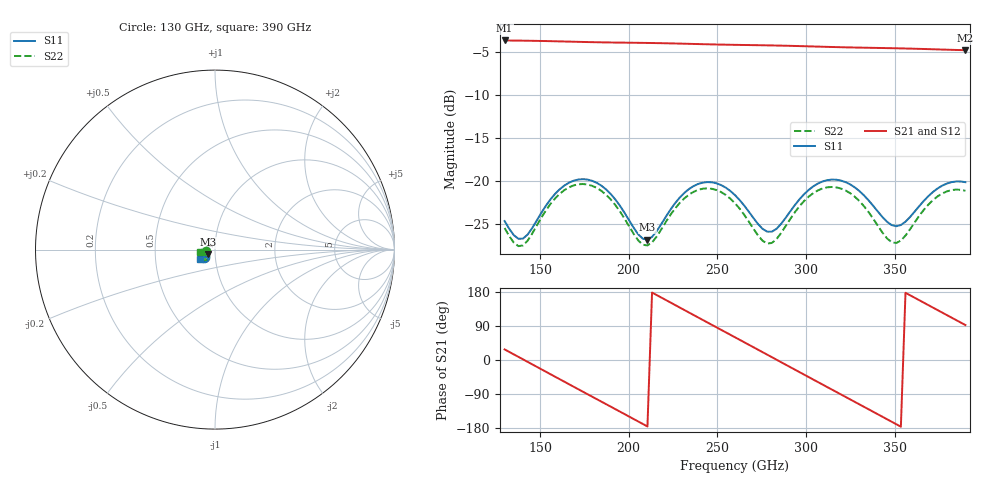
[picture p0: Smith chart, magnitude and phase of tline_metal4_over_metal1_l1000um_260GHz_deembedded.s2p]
! Created with skrf 2.0.1 (http://scikit-rf.org).
# GHz S DB R 50.0
!freq dBS11 angS11 dBS21 angS21 dBS12 angS12 dBS22 angS22
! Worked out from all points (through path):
!   101 points, 130 GHz to 390 GHz, reference 50 ohm
!   highest |S21| = -3.63 dB at 130 GHz (marker M1); lowest = -4.8 dB at 390 GHz (marker M2)
!   group delay of S21, straight-line fit = 7.01 ps
!   lowest |S11| = -26.9 dB at 210.6 GHz (marker M3), VSWR 1.10, Z = 46.3 - j2.41 ohm
!   |S11| at or under -10 dB: start of sweep to end of sweep
!   |S22| runs from -27.6 to -20.4 dB; largest |S21 - S12| = 1.1e-13
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130  -24.69 -161.9  -3.63 27.9  -3.63 27.9  -25.50 -168.5
140.4  -26.73 -137.7  -3.65 1.7  -3.65 1.7  -27.52 -143.1
150.8  -23.70 -121.1  -3.68 -24.6  -3.68 -24.6  -24.26 -127.3
163.8  -20.53 -130.8  -3.75 -57.5  -3.75 -57.5  -21.07 -138.7
174.2  -19.80 -145.6  -3.80 -83.7  -3.80 -83.7  -20.37 -154.5
189.8  -21.52 -165.8  -3.86 -122.9  -3.86 -122.9  -22.15 -175.9
200.2  -24.58 -168.1  -3.89 -149.1  -3.89 -149.1  -25.28 -178.7
210.6  -26.85 -145.2  -3.92 -175.4  -3.92 -175.4  -27.53 -156.0
218.4  -25.05 -127.8  -3.94 164.8  -3.94 164.8  -25.66 -139.4
239.2  -20.36 -138.7  -4.05 112.3  -4.05 112.3  -21.05 -152.7
249.6  -20.29 -152.2  -4.10 86.1  -4.10 86.1  -21.07 -167.2
260  -21.66 -162.9  -4.14 59.9  -4.14 59.9  -22.61 -179.0
275.6  -25.60 -155.3  -4.19 20.6  -4.19 20.6  -26.99 -170.5
283.4  -25.60 -136.6  -4.22 0.9  -4.22 0.9  -26.79 -149.8
293.8  -22.82 -126.4  -4.27 -25.4  -4.27 -25.4  -23.65 -140.8
304.2  -20.64 -132.8  -4.33 -51.7  -4.33 -51.7  -21.42 -149.2
314.6  -19.85 -144.8  -4.39 -77.9  -4.39 -77.9  -20.71 -163.0
325  -20.41 -156.8  -4.44 -104.0  -4.44 -104.0  -21.44 -176.6
348.4  -25.16 -151.6  -4.53 -162.9  -4.53 -162.9  -27.16 -169.5
366.6  -22.32 -128.6  -4.62 151.1  -4.62 151.1  -23.36 -144.5
379.6  -20.31 -137.5  -4.70 118.4  -4.70 118.4  -21.22 -156.5
390  -20.15 -148.5  -4.76 92.3  -4.76 92.3  -21.16 -169.5
